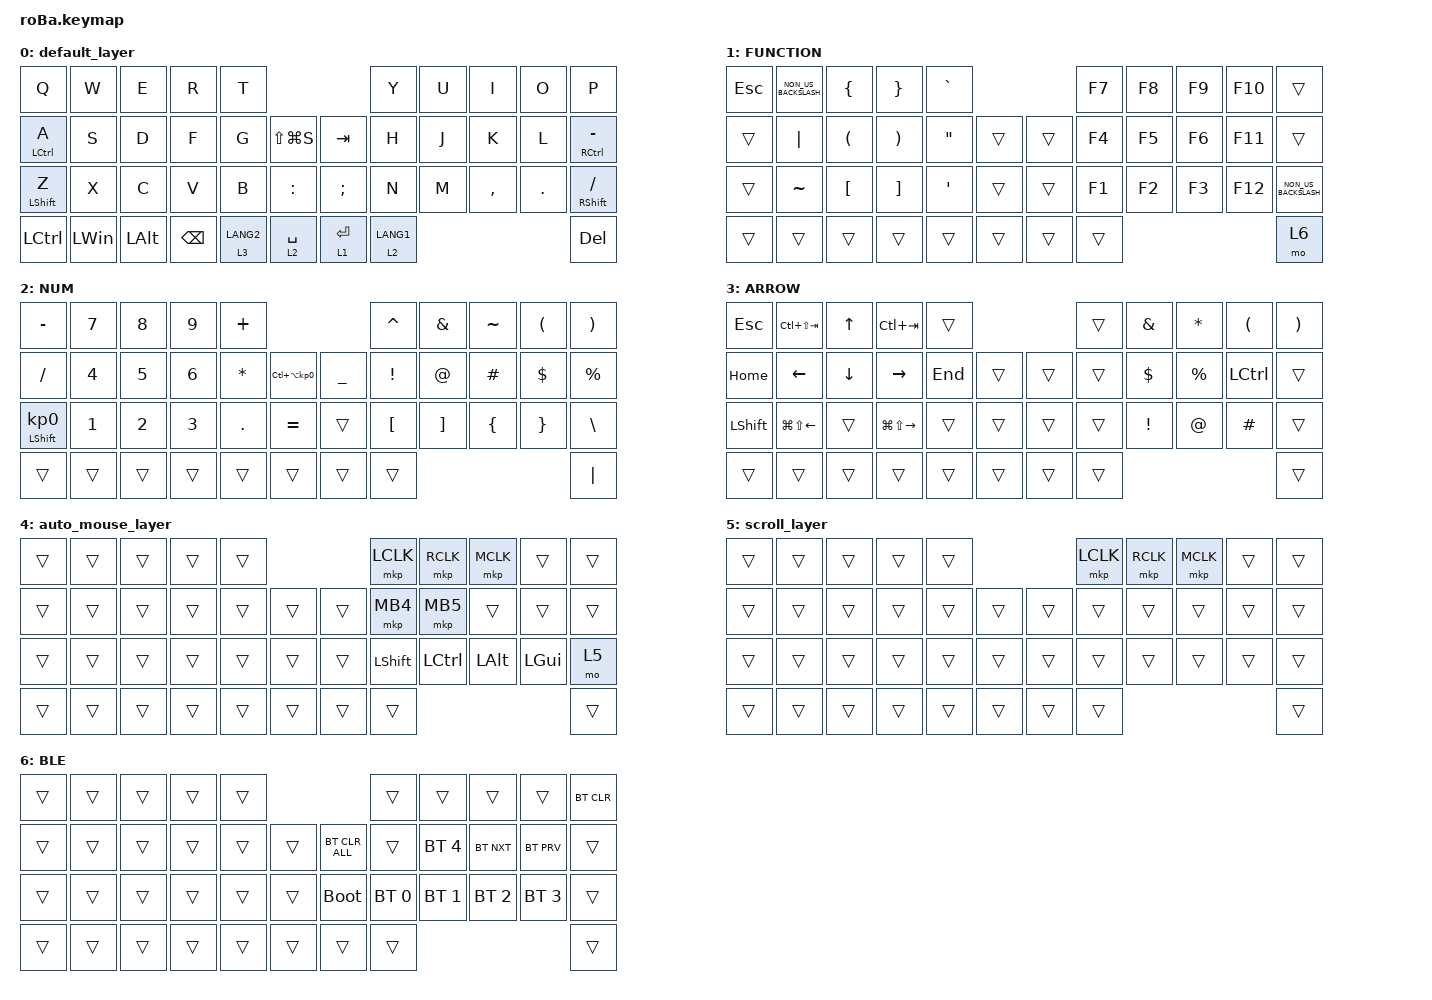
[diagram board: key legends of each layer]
// Mouse gesture disabled for stable auto mouse layer
// #include <mouse-gesture.dtsi>

#include <dt-bindings/zmk/mouse.h>
#include <input/processors.dtsi>
#include <behaviors.dtsi>
#include <dt-bindings/zmk/bt.h>
#include <dt-bindings/zmk/keys.h>
#include <dt-bindings/zmk/pointing.h>

&mt {
    flavor = "balanced";
    quick-tap-ms = <0>;
};

// Auto mouse layer configuration using PMW3610 driver properties
&trackball {
    automouse-layer = <4>;
    scroll-layers = <5>;
};

/ {
    combos {
        compatible = "zmk,combos";

        tab {
            bindings = <&kp TAB>;
            key-positions = <11 12>;
        };

        shift_tab {
            bindings = <&kp LS(TAB)>;
            key-positions = <12 13>;
        };

        muhennkann {
            bindings = <&to_layer_0 INT_MUHENKAN>;
            key-positions = <11 10>;
        };

        double_quotation {
            bindings = <&kp DOUBLE_QUOTES>;
            key-positions = <20 21>;
        };

        eq {
            bindings = <&kp EQUAL>;
            key-positions = <24 25>;
        };
    };

    macros {
        to_layer_0: to_layer_0 {
            compatible = "zmk,behavior-macro-one-param";
            #binding-cells = <1>;
            bindings = <&to 0 &macro_param_1to1 &kp MACRO_PLACEHOLDER>;
        };
    };

    behaviors {
        lt_to_layer_0: lt_to_layer_0 {
            compatible = "zmk,behavior-hold-tap";
            bindings = <&mo>, <&to_layer_0>;

            #binding-cells = <2>;
            tapping-term-ms = <200>;
        };
    };

    keymap {
        compatible = "zmk,keymap";

        default_layer {
            bindings = <
&kp Q             &kp W         &kp E         &kp R          &kp T                                          &kp Y        &kp U  &kp I      &kp O    &kp P
&mt LCTRL A       &kp S         &kp D         &kp F          &kp G        &kp LS(LG(S))      &kp TAB        &kp H        &kp J  &kp K      &kp L    &mt RCTRL MINUS
&mt LEFT_SHIFT Z  &kp X         &kp C         &kp V          &kp B        &kp COLON          &kp SEMICOLON  &kp N        &kp M  &kp COMMA  &kp DOT  &mt RIGHT_SHIFT SLASH
&kp LCTRL         &kp LEFT_WIN  &kp LEFT_ALT  &kp BACKSPACE  &lt 3 LANG2  &lt 2 SPACE        &lt 1 ENTER    &lt 2 LANG1                             &kp DEL
            >;

            // sensor-bindings = <&inc_dec_kp DOWN_ARROW UP_ARROW>; // Disabled for stable build
        };

        FUNCTION {
            bindings = <
&kp ESCAPE  &kp NON_US_BACKSLASH  &kp LEFT_BRACE        &kp RIGHT_BRACE        &kp GRAVE                              &kp F7  &kp F8  &kp F9  &kp F10  &trans
&trans      &kp PIPE              &kp LEFT_PARENTHESIS  &kp RIGHT_PARENTHESIS  &kp DOUBLE_QUOTES  &trans      &trans  &kp F4  &kp F5  &kp F6  &kp F11  &trans
&trans      &kp TILDE             &kp LEFT_BRACKET      &kp RIGHT_BRACKET      &kp SQT            &trans      &trans  &kp F1  &kp F2  &kp F3  &kp F12  &kp NON_US_BACKSLASH
&trans      &trans                &trans                &trans                 &trans             &trans      &trans  &trans                           &mo 6
            >;
        };

        NUM {
            bindings = <
&kp MINUS                   &kp N7        &kp N8  &kp N9        &kp PLUS                                                   &kp CARET         &kp AMPERSAND      &kp TILDE       &kp LEFT_PARENTHESIS  &kp RIGHT_PARENTHESIS
&kp SLASH                   &kp NUMBER_4  &kp N5  &kp NUMBER_6  &kp ASTERISK  &kp LC(LA(KP_NUMBER_0))      &kp UNDERSCORE  &kp EXCLAMATION   &kp AT_SIGN        &kp HASH        &kp DOLLAR            &kp PERCENT
&mt LEFT_SHIFT KP_NUMBER_0  &kp NUMBER_1  &kp N2  &kp NUMBER_3  &kp PERIOD    &kp EQUAL                    &trans          &kp LEFT_BRACKET  &kp RIGHT_BRACKET  &kp LEFT_BRACE  &kp RIGHT_BRACE       &kp BACKSLASH
&trans                      &trans        &trans  &trans        &trans        &trans                       &trans          &trans                                                                     &kp PIPE
            >;
        };

        ARROW {
            bindings = <
&kp ESCAPE      &kp LC(LS(TAB))         &kp UP_ARROW    &kp LC(TAB)              &trans                       &trans  &kp AMPERSAND    &kp ASTERISK  &kp LEFT_PARENTHESIS  &kp RIGHT_PARENTHESIS
&kp HOME        &kp LEFT_ARROW          &kp DOWN_ARROW  &kp RIGHT_ARROW          &kp END  &trans      &trans  &trans  &kp DOLLAR       &kp PERCENT   &kp LCTRL             &trans
&kp LEFT_SHIFT  &kp LG(LS(LEFT_ARROW))  &trans          &kp LG(LS(RIGHT_ARROW))  &trans   &trans      &trans  &trans  &kp EXCLAMATION  &kp AT_SIGN   &kp POUND             &trans
&trans          &trans                  &trans          &trans                   &trans   &trans      &trans  &trans                                                       &trans
            >;

            // sensor-bindings = <&inc_dec_kp LC(PAGE_DOWN) LC(PAGE_UP)>; // Disabled for stable build
        };

        // Auto mouse layer (layer 4) - Automatically activated by trackball movement
        auto_mouse_layer {
            bindings = <
&trans      &trans      &trans      &trans      &trans                      &mkp LCLK   &mkp RCLK   &mkp MCLK   &trans      &trans
&trans      &trans      &trans      &trans      &trans  &trans      &trans  &mkp MB4    &mkp MB5    &trans      &trans      &trans
&trans      &trans      &trans      &trans      &trans  &trans      &trans  &kp LSHFT   &kp LCTRL   &kp LALT    &kp LGUI    &mo 5
&trans      &trans      &trans      &trans      &trans  &trans      &trans  &trans                              &trans
            >;
        };

        // Scroll layer (layer 5) - Activated via mo 5 from auto mouse layer
        scroll_layer {
            bindings = <
&trans      &trans      &trans      &trans      &trans                      &mkp LCLK   &mkp RCLK   &mkp MCLK   &trans      &trans
&trans      &trans      &trans      &trans      &trans  &trans      &trans  &trans      &trans      &trans      &trans      &trans
&trans      &trans      &trans      &trans      &trans  &trans      &trans  &trans      &trans      &trans      &trans      &trans
&trans      &trans      &trans      &trans      &trans  &trans      &trans  &trans                              &trans
            >;
        };

        BLE {
            bindings = <
&trans  &trans  &trans  &trans  &trans                              &trans        &trans        &trans        &trans        &bt BT_CLR
&trans  &trans  &trans  &trans  &trans  &trans      &bt BT_CLR_ALL  &trans        &bt BT_SEL 4  &bt BT_NXT    &bt BT_PRV    &trans
&trans  &trans  &trans  &trans  &trans  &trans      &bootloader     &bt BT_SEL 0  &bt BT_SEL 1  &bt BT_SEL 2  &bt BT_SEL 3  &trans
&trans  &trans  &trans  &trans  &trans  &trans      &trans          &trans                                                  &trans
            >;
        };
    };
};

// Mouse gesture configuration disabled for stable auto mouse layer
// Focus on core trackball functionality first
